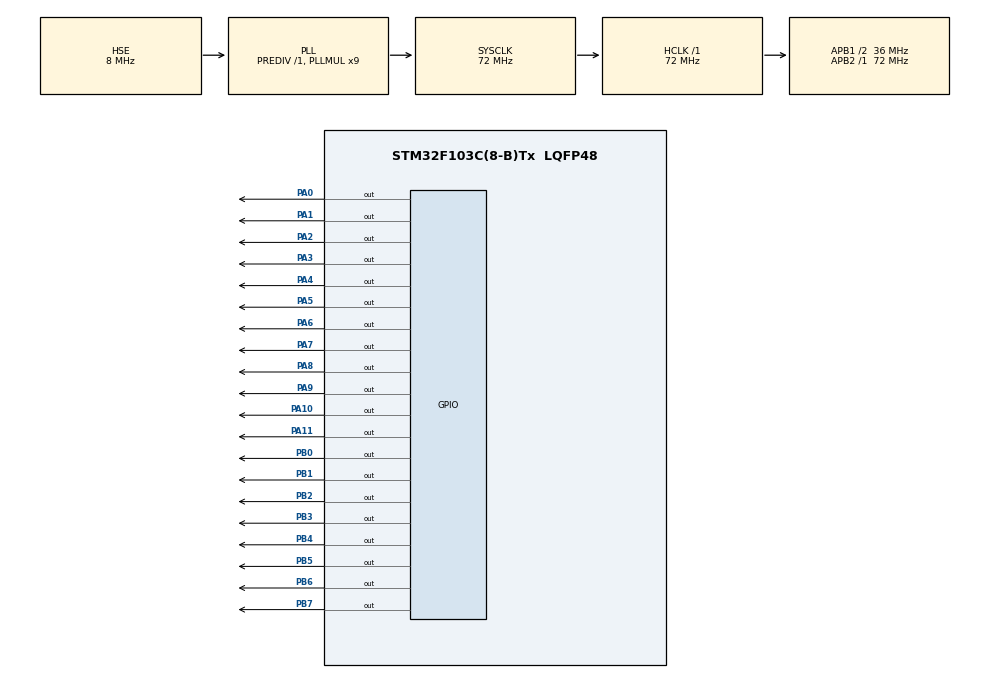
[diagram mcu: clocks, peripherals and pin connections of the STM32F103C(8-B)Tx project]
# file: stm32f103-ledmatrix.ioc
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Mcu.Family=STM32F1
Mcu.Name=STM32F103C(8-B)Tx
Mcu.Package=LQFP48
NVIC.PriorityGroup=NVIC_PRIORITYGROUP_4
PA0-WKUP.Signal=GPIO_Output
PA1.Signal=GPIO_Output
PA10.Signal=GPIO_Output
PA11.Signal=GPIO_Output
PA13.Mode=Serial_Wire
PA13.Signal=SYS_JTMS-SWDIO
PA14.Mode=Serial_Wire
PA14.Signal=SYS_JTCK-SWCLK
PA2.Signal=GPIO_Output
PA3.Signal=GPIO_Output
PA4.Signal=GPIO_Output
PA5.Signal=GPIO_Output
PA6.Signal=GPIO_Output
PA7.Signal=GPIO_Output
PA8.Signal=GPIO_Output
PA9.Signal=GPIO_Output
PB0.Signal=GPIO_Output
PB1.Signal=GPIO_Output
PB2.Signal=GPIO_Output
PB3.Signal=GPIO_Output
PB4.Signal=GPIO_Output
PB5.Signal=GPIO_Output
PB6.Signal=GPIO_Output
PB7.Signal=GPIO_Output
PD0-OSC_IN.Mode=HSE-External-Oscillator
PD0-OSC_IN.Signal=RCC_OSC_IN
PD1-OSC_OUT.Mode=HSE-External-Oscillator
PD1-OSC_OUT.Signal=RCC_OSC_OUT
ProjectManager.HeapSize=0x200
ProjectManager.StackSize=0x400
ProjectManager.TargetToolchain=Makefile
RCC.AHBFreq_Value=72000000
RCC.APB1CLKDivider=RCC_HCLK_DIV2
RCC.APB1Freq_Value=36000000
RCC.APB1TimFreq_Value=72000000
RCC.APB2Freq_Value=72000000
RCC.APB2TimFreq_Value=72000000
RCC.HCLKFreq_Value=72000000
RCC.PLLMUL=RCC_PLL_MUL9
RCC.PLLSourceVirtual=RCC_PLLSOURCE_HSE
RCC.SYSCLKFreq_VALUE=72000000
RCC.SYSCLKSource=RCC_SYSCLKSOURCE_PLLCLK
RCC.USBFreq_Value=72000000
board=custom

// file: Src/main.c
/* USER CODE BEGIN Header */
/**
  ******************************************************************************
  * @file           : main.c
  * @brief          : Main program body
  ******************************************************************************
  * @attention
  *
  * <h2><center>&copy; Copyright (c) 2020 STMicroelectronics.
  * All rights reserved.</center></h2>
  *
  * This software component is licensed by ST under BSD 3-Clause license,
  * the "License"; You may not use this file except in compliance with the
  * License. You may obtain a copy of the License at:
  *                        opensource.org/licenses/BSD-3-Clause
  *
  ******************************************************************************
  */
/* USER CODE END Header */

#include "main.h"

void SystemClock_Config(void);
static void MX_GPIO_Init(void);

/* USER CODE BEGIN 0 */
uint8_t new_world[7][11] = {
                       {0, 1, 0, 0, 0, 1, 0},
                       {0, 0, 1, 0, 0, 0, 1},
                       {1, 1, 1, 0, 1, 1, 1},
                       {0, 0, 0, 1, 0, 0, 0},
                       {0, 1, 0, 0, 0, 1, 0},
                       {0, 0, 1, 0, 0, 0, 1},
                       {1, 1, 1, 0, 1, 1, 1},
                       {0, 0, 0, 1, 0, 0, 0},
                       {0, 1, 0, 0, 0, 0, 0},
                       {0, 0, 1, 0, 0, 0, 0},
                       {1, 1, 1, 0, 0, 0, 0},
                       };

void evolution(int w, int h, int world[][h]){
  for(int x = 0; x < w; x++)
    for(int y = 0 ; y < h ; y++){
      int lives = 0;
      for(int xd = x - 1; xd <= x+1; xd++)
        for(int yd = y - 1; yd <= y + 1; yd++)
          if(world[(xd + w) % w][(yd + h) % h])
            lives++;
      if(world[x][y])
        lives--;

      new_world[x][y] = (lives ==3 || (lives == 2 && world[x][y]));
    }
  for(int x = 0; x < w; x++)
    for(int y = 0 ; y < h ; y++)
       world[x][y] = new_world[x][y];
}

/* USER CODE END 0 */

int main(void)
{
  /* USER CODE BEGIN 1 */
  int w = 7;
  int h = 11;
  int world[w][h];
  /* USER CODE END 1 */

  /* MCU Configuration--------------------------------------------------------*/

  /* Reset of all peripherals, Initializes the Flash interface and the Systick. */
  HAL_Init();

  /* Configure the system clock */
  SystemClock_Config();

  /* Initialize all configured peripherals */
  MX_GPIO_Init();

  /* Infinite loop */
  /* USER CODE BEGIN WHILE */
  while (1)
  {
    evolution(w, h, world);
    for(int k = 0; k<30; k++){
      for(int i = 0; i < 11; i++){
        for(int j = 0; j < 7; j++){
          GPIOA->ODR ^= (1 << i);
          if(new_world[i][j] == 0){
            GPIOB->ODR ^= (1 << j);
          }
        }
        HAL_Delay(1);
        MX_GPIO_Init();
      }
    }
    /* USER CODE END WHILE */

  }
}

void SystemClock_Config(void)
{
  RCC_OscInitTypeDef RCC_OscInitStruct = {0};
  RCC_ClkInitTypeDef RCC_ClkInitStruct = {0};

  /** Initializes the CPU, AHB and APB busses clocks
  */
  RCC_OscInitStruct.OscillatorType = RCC_OSCILLATORTYPE_HSE;
  RCC_OscInitStruct.HSEState = RCC_HSE_ON;
  RCC_OscInitStruct.HSEPredivValue = RCC_HSE_PREDIV_DIV1;
  RCC_OscInitStruct.HSIState = RCC_HSI_ON;
  RCC_OscInitStruct.PLL.PLLState = RCC_PLL_ON;
  RCC_OscInitStruct.PLL.PLLSource = RCC_PLLSOURCE_HSE;
  RCC_OscInitStruct.PLL.PLLMUL = RCC_PLL_MUL9;
  if (HAL_RCC_OscConfig(&RCC_OscInitStruct) != HAL_OK)
  {
    Error_Handler();
  }
  /** Initializes the CPU, AHB and APB busses clocks
  */
  RCC_ClkInitStruct.ClockType = RCC_CLOCKTYPE_HCLK|RCC_CLOCKTYPE_SYSCLK
                              |RCC_CLOCKTYPE_PCLK1|RCC_CLOCKTYPE_PCLK2;
  RCC_ClkInitStruct.SYSCLKSource = RCC_SYSCLKSOURCE_PLLCLK;
  RCC_ClkInitStruct.AHBCLKDivider = RCC_SYSCLK_DIV1;
  RCC_ClkInitStruct.APB1CLKDivider = RCC_HCLK_DIV2;
  RCC_ClkInitStruct.APB2CLKDivider = RCC_HCLK_DIV1;

  if (HAL_RCC_ClockConfig(&RCC_ClkInitStruct, FLASH_LATENCY_2) != HAL_OK)
  {
    Error_Handler();
  }
}

static void MX_GPIO_Init(void)
{
  GPIO_InitTypeDef GPIO_InitStruct = {0};

  /* GPIO Ports Clock Enable */
  __HAL_RCC_GPIOD_CLK_ENABLE();
  __HAL_RCC_GPIOA_CLK_ENABLE();
  __HAL_RCC_GPIOB_CLK_ENABLE();

  /*Configure GPIO pin Output Level */
  HAL_GPIO_WritePin(GPIOA, GPIO_PIN_0|GPIO_PIN_1|GPIO_PIN_2|GPIO_PIN_3
                          |GPIO_PIN_4|GPIO_PIN_5|GPIO_PIN_6|GPIO_PIN_7
                          |GPIO_PIN_8|GPIO_PIN_9|GPIO_PIN_10|GPIO_PIN_11, GPIO_PIN_RESET);

  /*Configure GPIO pin Output Level */
  HAL_GPIO_WritePin(GPIOB, GPIO_PIN_0|GPIO_PIN_1|GPIO_PIN_2|GPIO_PIN_3
                          |GPIO_PIN_4|GPIO_PIN_5|GPIO_PIN_6|GPIO_PIN_7, GPIO_PIN_RESET);

  /*Configure GPIO pins : PA0 PA1 PA2 PA3
                           PA4 PA5 PA6 PA7
                           PA8 PA9 PA10 PA11 */
  GPIO_InitStruct.Pin = GPIO_PIN_0|GPIO_PIN_1|GPIO_PIN_2|GPIO_PIN_3
                          |GPIO_PIN_4|GPIO_PIN_5|GPIO_PIN_6|GPIO_PIN_7
                          |GPIO_PIN_8|GPIO_PIN_9|GPIO_PIN_10|GPIO_PIN_11;
  GPIO_InitStruct.Mode = GPIO_MODE_OUTPUT_PP;
  GPIO_InitStruct.Pull = GPIO_NOPULL;
  GPIO_InitStruct.Speed = GPIO_SPEED_FREQ_LOW;
  HAL_GPIO_Init(GPIOA, &GPIO_InitStruct);

  /*Configure GPIO pins : PB0 PB1 PB2 PB3
                           PB4 PB5 PB6 PB7 */
  GPIO_InitStruct.Pin = GPIO_PIN_0|GPIO_PIN_1|GPIO_PIN_2|GPIO_PIN_3
                          |GPIO_PIN_4|GPIO_PIN_5|GPIO_PIN_6|GPIO_PIN_7;
  GPIO_InitStruct.Mode = GPIO_MODE_OUTPUT_PP;
  GPIO_InitStruct.Pull = GPIO_NOPULL;
  GPIO_InitStruct.Speed = GPIO_SPEED_FREQ_LOW;
  HAL_GPIO_Init(GPIOB, &GPIO_InitStruct);

}

void Error_Handler(void)
{
}

/************************ (C) COPYRIGHT STMicroelectronics *****END OF FILE****/
